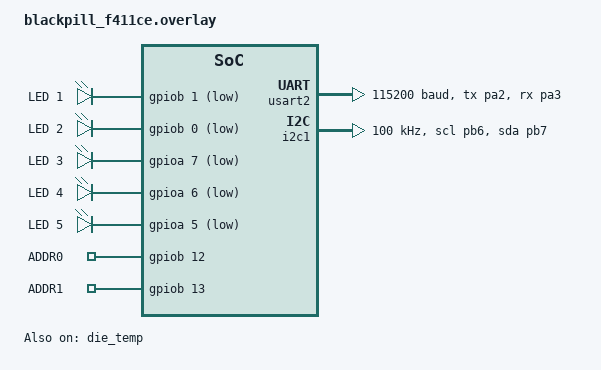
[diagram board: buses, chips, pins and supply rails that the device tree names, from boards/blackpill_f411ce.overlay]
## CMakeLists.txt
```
cmake_minimum_required(VERSION 3.20.0)

find_package(Zephyr REQUIRED HINTS $ENV{ZEPHYR_BASE})
project(libcsp-zephyr)

target_sources(app PRIVATE src/main.c src/csp_server_client_zephyr.c src/usart_zephyr.c src/i2c_zephyr.c)
target_link_libraries(app PRIVATE libcsp)
```

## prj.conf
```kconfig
CONFIG_GPIO=y

CONFIG_LIBCSP=y
CONFIG_LIBCSP_HAVE_STDIO=y

CONFIG_PICOLIBC=y # missing <endian.h> for libcsp

CONFIG_DMA=y
CONFIG_DMA_STM32=y
CONFIG_UART_STM32=y
CONFIG_UART_ASYNC_API=y

CONFIG_ADC=y
CONFIG_SENSOR=y
CONFIG_CBPRINTF_FP_SUPPORT=y

CONFIG_I2C=y
CONFIG_I2C_STM32=y
CONFIG_I2C_STM32_INTERRUPT=y
CONFIG_I2C_TARGET=y
# CONFIG_I2C_LOG_LEVEL_DBG=y

CONFIG_LOG=y
CONFIG_LOG_MODE_DEFERRED=y
CONFIG_LOG_PRINTK=y

# CONFIG_DEBUG=y
```

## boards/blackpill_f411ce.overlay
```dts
/ {
    aliases {
        cspkissuart = &usart2;
        uartdma = &dma1;
        cputemp = &die_temp;
        cspi2c = &i2c1;

        addr0 = &addr_0;
        addr1 = &addr_1;

        led1 = &led_1;
        led2 = &led_2;
        led3 = &led_3;
        led4 = &led_4;
        led5 = &led_5;
    };

    leds {
        led_1: led_1 {
            gpios = <&gpiob 1 GPIO_ACTIVE_LOW>;
            label = "LED 1";
        };
        led_2: led_2 {
            gpios = <&gpiob 0 GPIO_ACTIVE_LOW>;
            label = "LED 2";
        };
        led_3: led_3 {
            gpios = <&gpioa 7 GPIO_ACTIVE_LOW>;
            label = "LED 3";
        };
        led_4: led_4 {
            gpios = <&gpioa 6 GPIO_ACTIVE_LOW>;
            label = "LED 4";
        };
        led_5: led_5 {
            gpios = <&gpioa 5 GPIO_ACTIVE_LOW>;
            label = "LED 5";
        };
        
    };

	gpio_keys {
		addr_0: addr_0 {
			label = "ADDR0";
			gpios = <&gpiob 12 (GPIO_ACTIVE_HIGH)>;
		};
        addr_1: addr_1 {
			label = "ADDR1";
			gpios = <&gpiob 13 (GPIO_ACTIVE_HIGH)>;
        };

	};
};

&usart2 {
    status = "okay";
    pinctrl-0 = <&usart2_tx_pa2 &usart2_rx_pa3>;
    pinctrl-names = "default";
	current-speed = <115200>;
    dmas = <&dma1 6 4 STM32_DMA_PERIPH_TX STM32_DMA_FIFO_FULL>, <&dma1 7 6 STM32_DMA_PERIPH_RX STM32_DMA_FIFO_FULL>;
    dma-names = "tx", "rx";
};

&dma1 {
    status = "okay";
};

&die_temp {
    status = "okay";
};


&i2c1 {
    status = "okay";
    pinctrl-0 = <&i2c1_scl_pb6 &i2c1_sda_pb7>;
    pinctrl-names = "default";
    clock-frequency = <I2C_BITRATE_STANDARD>;
};

// Disable to prevent collision with I2C1 pinout
&pwm4 {
    status = "disabled";
};
```

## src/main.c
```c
#include <csp/csp.h>
#include <csp/csp_debug.h>
#include <csp/drivers/usart.h>
#include "i2c.h"

#include <zephyr/kernel.h>
#include <zephyr/drivers/gpio.h>
#include <zephyr/drivers/i2c.h>

#include <stdlib.h>
#include <string.h>
#include <time.h>

#define OBC_ADDR ( 1 )
#define EPS_ADDR ( 2 )
#define COM_ADDR ( 3 )

#define SLEEP_TIME_MS ( 1000 )

/* The devicetree node identifier for the "led0" alias. */
#define LED0_NODE DT_ALIAS(led0)
#define LED1_NODE DT_ALIAS(led1)
#define LED2_NODE DT_ALIAS(led2)
#define LED3_NODE DT_ALIAS(led3)
#define LED4_NODE DT_ALIAS(led4)
#define LED5_NODE DT_ALIAS(led5)
// #define CSP_I2C_NODE DT_ALIAS(cspi2c)

#define ADDR0_NODE	DT_ALIAS(addr0)
#define ADDR1_NODE	DT_ALIAS(addr1)

static const struct gpio_dt_spec addr0 = GPIO_DT_SPEC_GET_OR(ADDR0_NODE, gpios, {0});
static const struct gpio_dt_spec addr1 = GPIO_DT_SPEC_GET_OR(ADDR1_NODE, gpios, {0});
                                  
static const struct gpio_dt_spec led = GPIO_DT_SPEC_GET(LED0_NODE, gpios);

static const struct gpio_dt_spec leds[5] = {
    GPIO_DT_SPEC_GET(LED1_NODE, gpios),
    GPIO_DT_SPEC_GET(LED2_NODE, gpios),
    GPIO_DT_SPEC_GET(LED3_NODE, gpios),
    GPIO_DT_SPEC_GET(LED4_NODE, gpios),
    GPIO_DT_SPEC_GET(LED5_NODE, gpios),
};

/* These three functions must be provided in arch specific way */
void router_start(void);
void server_start(void);
void client_start(void);

void who_am_i(uint8_t addr)
{
    switch(addr)
    {
    case OBC_ADDR:
        printk("HW: OBC\n");
        break;
    case EPS_ADDR:
        printk("HW: EPS\n");
        break;
    case COM_ADDR:
        printk("HW: COM\n");
        break;
    default:
        printk("HW: error!\n");
        break;
    }
}

void main(void)
{
    int ret;

    /*** User LED ***/
    if (!gpio_is_ready_dt(&led))
    {
        return;
    }

    ret = gpio_pin_configure_dt(&led, GPIO_OUTPUT_ACTIVE);
    if (ret < 0)
    {
        return;
    }

    for(int i = 0; i < 5; i++)
    {
        if(!gpio_is_ready_dt(&leds[i]))
        {
            return;
        }
        ret = gpio_pin_configure_dt(&leds[i], GPIO_OUTPUT_ACTIVE);
        if (ret < 0)
        {
            return;
        }
    }

    /*** HW address input ***/
    if (!gpio_is_ready_dt(&addr0))
    {
        printk("Error: HW address device %s is not ready\n", addr0.port->name);
        return;
    }
    if (!gpio_is_ready_dt(&addr1))
    {
        printk("Error: HW address device %s is not ready\n", addr1.port->name);
        return;
    }

    ret = gpio_pin_configure_dt(&addr0, GPIO_INPUT);
    if (ret != 0) {
        printk("Error %d: failed to configure %s pin %d\n", ret, addr0.port->name, addr0.pin);
        return;
    }
    ret = gpio_pin_configure_dt(&addr1, GPIO_INPUT);
    if (ret != 0) {
        printk("Error %d: failed to configure %s pin %d\n", ret, addr1.port->name, addr1.pin);
        return;
    }

    uint8_t my_addr = 0;
    if(gpio_pin_get_dt(&addr0)) { my_addr += 1; }
    if(gpio_pin_get_dt(&addr1)) { my_addr += 2; }

    who_am_i(my_addr);

    /*** Cubesat Space Protocol ***/
    printk("Initializing CSP\n");

    /* Init CSP */
    csp_init();
    csp_dbg_packet_print = 1;

    /* Start router */
    router_start();

    /* Add interface(s) */
    csp_iface_t * kiss_iface = NULL;
    csp_iface_t * i2c_iface = NULL;

    // Configure USART in devicetree and here pass NULL
    if(my_addr == COM_ADDR)
    {
        ret = csp_usart_open_and_add_kiss_interface(NULL, CSP_IF_KISS_DEFAULT_NAME, &kiss_iface);
        if (ret != CSP_ERR_NONE)
        {
            csp_print("Failed to add KISS interface [%s], error: %d\n", DEVICE_DT_NAME(DT_ALIAS(cspkissuart)), ret);
            return;
        }
        else
        {
            csp_print("KISS interface OK\n");
            kiss_iface->addr = my_addr;
        }

        csp_rtable_set(32, 9, kiss_iface, CSP_NO_VIA_ADDRESS);
    }

    // Configure I2C
    csp_i2c_conf_t conf = { .address = my_addr };
    ret = csp_i2c_open_and_add_interface(&conf, CSP_IF_I2C_DEFAULT_NAME, &i2c_iface);
    if (ret != CSP_ERR_NONE)
    {
        csp_print("Failed to add I2C interface [%s], error: %d\n", DEVICE_DT_NAME(DT_ALIAS(cspi2c)), ret);
        return;
    }
    else
    {
        csp_print("I2C interface OK\n");
    }

    csp_rtable_set(0, 9, i2c_iface, CSP_NO_VIA_ADDRESS);
    if(my_addr != COM_ADDR)
    {
        csp_rtable_set(32, 9, i2c_iface, COM_ADDR);
    }

    csp_print("Connection table\r\n");
    csp_conn_print_table();

    csp_print("Interfaces\r\n");
    csp_iflist_print();

    csp_print("Route table\r\n");
    csp_rtable_print();

    server_start();

    srand(time(NULL));

    while (1)
    {
        ret = gpio_pin_toggle_dt(&led);
        if (ret < 0)
        {
            return;
        }

        ret = gpio_pin_toggle_dt(&leds[rand()%5]);
        k_msleep(SLEEP_TIME_MS);
    }
}
```

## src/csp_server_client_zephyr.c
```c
#include <csp/csp.h>
#include <zephyr/kernel.h>
#include <zephyr/drivers/sensor.h>

void server(void);
void client(void);

#define ROUTER_STACK_SIZE 800
#define SERVER_STACK_SIZE 800
#define CLIENT_STACK_SIZE 400
#define ROUTER_PRIO 0
#define SERVER_PRIO 0
#define CLIENT_PRIO 0

/* Server port, the port the server listens on for incoming connections from the client. */
#define MY_SERVER_PORT		10
#define CPU_TEMPERATURE_PORT		11

#define CPU_TEMP_NODE DT_ALIAS(cputemp)

static const struct device *const cpu_temp = DEVICE_DT_GET(CPU_TEMP_NODE);

static unsigned int server_received = 0;

void server(void)
{
    int ret;
    struct sensor_value val;

    csp_print("Server task started\n");

    /*** CPU temperature sensor ***/
    if (!device_is_ready(cpu_temp))
    {
        printk("sensor: device %s not ready.\n", cpu_temp->name);
        return;
    }

    /*** ***/
    /* Create socket with no specific socket options, e.g. accepts CRC32, HMAC, etc. if enabled during compilation */
    csp_socket_t sock = {0};

    /* Bind socket to all ports, e.g. all incoming connections will be handled here */
    csp_bind(&sock, CSP_ANY);

    /* Create a backlog of 10 connections, i.e. up to 10 new connections can be queued */
    csp_listen(&sock, 10);

    /* Wait for connections and then process packets on the connection */
    while (1) {

        /* Wait for a new connection, 10000 mS timeout */
        csp_conn_t *conn;
        if ((conn = csp_accept(&sock, 10000)) == NULL) {
            /* timeout */
            continue;
        }

        /* Read packets on connection, timout is 100 mS */
        csp_packet_t *packet;
        while ((packet = csp_read(conn, 50)) != NULL) {
            switch (csp_conn_dport(conn)) {
            case MY_SERVER_PORT:
                /* Process packet here */
                csp_print("Packet received on MY_SERVER_PORT: %s\n", (char *) packet->data);
                csp_buffer_free(packet);
                ++server_received;
                break;

            case CPU_TEMPERATURE_PORT:
                ret = sensor_sample_fetch(cpu_temp);
                if (ret)
                {
                    printk("Failed to fetch sample (%d)\n", ret);
                }

                ret = sensor_channel_get(cpu_temp, SENSOR_CHAN_DIE_TEMP, &val);
                if (ret)
                {
                    printk("Failed to get data (%d)\n", ret);
                }
                
                printk("CPU Die temperature[%s] request: %.1f °C (%d %d)\n", cpu_temp->name, sensor_value_to_double(&val), val.val1, val.val2);

                memcpy(packet->data, &val.val1, sizeof(val.val1));
                memcpy(packet->data+sizeof(val.val1), &val.val2, sizeof(val.val2));
                packet->length = sizeof(val.val1)+sizeof(val.val2);

                csp_sendto_reply(packet, packet, CSP_O_SAME);
                break;

            default:
                /* Call the default CSP service handler, handle pings, buffer use, etc. */
                csp_service_handler(packet);
                break;
            }
        }

        /* Close current connection */
        csp_close(conn);

    }

    return;

}

static void * router_task(void * param) {

    /* Here there be routing */
    while (1) {
        csp_route_work();
        k_msleep(1);
    }

    return NULL;
}

static void * server_task(void * p1, void * p2, void * p3) {

    ARG_UNUSED(p1);
    ARG_UNUSED(p2);
    ARG_UNUSED(p3);

    server();

    return NULL;
}

static void * client_task(void * p1, void * p2, void * p3) {

    ARG_UNUSED(p1);
    ARG_UNUSED(p2);
    ARG_UNUSED(p3);

    // client();

    return NULL;
}

K_THREAD_DEFINE(router_id, ROUTER_STACK_SIZE,
                router_task, NULL, NULL, NULL,
                ROUTER_PRIO, 0, K_TICKS_FOREVER);
K_THREAD_DEFINE(server_id, SERVER_STACK_SIZE,
                server_task, NULL, NULL, NULL,
                SERVER_PRIO, 0, K_TICKS_FOREVER);
K_THREAD_DEFINE(client_id, CLIENT_STACK_SIZE,
                client_task, NULL, NULL, NULL,
                CLIENT_PRIO, 0, K_TICKS_FOREVER);

void router_start(void) {
    k_thread_start(router_id);
}

void server_start(void) {
    k_thread_start(server_id);
}

void client_start(void) {
    k_thread_start(client_id);
}
```

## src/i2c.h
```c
#pragma once

/**
   @file

   I2C driver.
*/

#include <csp/interfaces/csp_if_i2c.h>


/**
   I2C configuration
   @see csp_i2c_open()
*/
typedef struct csp_i2c_conf {
    //! Bus bitrate
    uint32_t bitrate;
    //! Slave address
    uint8_t address;
} csp_i2c_conf_t;

// /** 
//    Callback for returning data to application
// 
//    @param[in] buf data received
//    @param[in] len data length (number of bytes in \a buf).
//    @param[out] pxTaskWoken Valid reference if called from ISR, otherwise NULL!
// */
// typedef void (*csp_i2c_callback_t) (void * user_data, uint8_t *buf, size_t len, void *pxTaskWoken);

/**
 * Write data on open I2C.
 * @return number of bytes written on success, a negative value on failure. 
 */
int csp_i2c_write(void * driver_data, csp_packet_t * packet);

/**
 * Lock the device, so only a single user can use I2C device at a time
 * 
 * NOTE: Currently not used by csp_if_i2c
 */
// int csp_i2c_lock(void * driver_data);

/**
 * Unlock the I2C device again
 * 
 * NOTE: Currently not used by csp_if_i2c
 */
// int csp_i2c_unlock(void * driver_data);

/**
   Open an I2C device and add interface

   @param[in] conf I2C configuration.
   @param[in] ifname interface name (will be copied), or use NULL for default name.
   @param[out] return_iface the added interface.
   @return #CSP_ERR_NONE on success, otherwise an error code.
*/
int csp_i2c_open_and_add_interface(const csp_i2c_conf_t *conf, const char * ifname, csp_iface_t ** return_iface);
```

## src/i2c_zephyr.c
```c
#include "i2c.h"

#include <csp/csp.h>
#include <csp/csp_id.h>

#include <zephyr/kernel.h>
#include <zephyr/drivers/i2c.h>

#include <stdlib.h>

typedef struct
{
    char name[CSP_IFLIST_NAME_MAX + 1];
    csp_iface_t iface;
    csp_i2c_interface_data_t ifdata;

    csp_packet_t* packet;
    uint16_t rx_length;
} i2c_context_t;

int csp_i2c_target_write_requested_cb(struct i2c_target_config *config);
int csp_i2c_target_read_requested_cb(struct i2c_target_config *config, uint8_t *val);
int csp_i2c_target_write_received_cb(struct i2c_target_config *config, uint8_t val);
int csp_i2c_target_read_processed_cb(struct i2c_target_config *config, uint8_t *val);
int csp_i2c_target_stop_cb(struct i2c_target_config *config);

static const struct device *const i2c_dev = DEVICE_DT_GET(DT_NODELABEL(i2c1));

static i2c_context_t* ctx = NULL;

static struct i2c_target_callbacks csp_target_cbs = 
{
    .read_processed = csp_i2c_target_read_processed_cb,
    .read_requested = csp_i2c_target_read_requested_cb,
    .stop = csp_i2c_target_stop_cb,
    .write_received = csp_i2c_target_write_received_cb,
    .write_requested = csp_i2c_target_write_requested_cb
};

static struct i2c_target_config csp_i2c_target_config =
{
    .address = 0,
    .flags = 0,
    .callbacks = &csp_target_cbs
};

int csp_i2c_target_write_requested_cb(struct i2c_target_config *config)
{
    // TODO: Get I2C ctx by i2c_target_config
    ctx->packet = csp_buffer_get_isr(CSP_BUFFER_SIZE);
    if (ctx->packet == NULL)
    {
        // Buffer not prepared, abort receiving
        csp_print("%s[%s]:Write RX packet NULL!\n", __FUNCTION__, ctx->name);
        
        // No more memory, return negative error code to reject incoming write request
        return -1;
    }

    csp_id_setup_rx(ctx->packet);
    ctx->rx_length = 0;

    return 0;
}

int csp_i2c_target_read_requested_cb(struct i2c_target_config *config, uint8_t *val)
{
    // Only write is support, return negative error code to reject incoming write request
    return -ENOTSUP;
}

int csp_i2c_target_write_received_cb(struct i2c_target_config *config, uint8_t val)
{
    if (ctx->packet == NULL)
    {
        // Buffer not prepared, abort receiving
        csp_print("Write RX packet NULL!\n");
        return -CSP_ERR_NOBUFS;
    }
    ctx->packet->frame_begin[ctx->rx_length++] = val;

    return 0;
}

int csp_i2c_target_read_processed_cb(struct i2c_target_config *config, uint8_t *val)
{
    // Only write is support, return negative error code to reject incoming write request
    return -ENOTSUP;
}

int csp_i2c_target_stop_cb(struct i2c_target_config *config)
{
    uint8_t task_woken = 0;

    ctx->packet->frame_length = ctx->rx_length;
    csp_i2c_rx(&ctx->iface, ctx->packet, &task_woken);

    return 0;
}

int csp_i2c_open(void)
{
    int ret = i2c_target_register(i2c_dev, &csp_i2c_target_config);
    if(ret != 0)
    {
        csp_print("i2c_target_register() failed, error: %d\n", ret);
        return CSP_ERR_DRIVER;
    }

    return CSP_ERR_NONE;
}

int csp_i2c_write(void * driver_data, csp_packet_t * packet)
{
    int ret = i2c_target_unregister(i2c_dev, &csp_i2c_target_config);
    if(ret != 0)
    {
        csp_print("%s: i2c_target_unregister() failed, error: %d\n", __FUNCTION__, ret);
    }

    struct i2c_msg msg;

    /* Setup I2C messages */
    if (!device_is_ready(i2c_dev))
    {
        csp_print("i2c not ready\n");
        return CSP_ERR_TX;
    }

    /* Data to be written, and STOP after this. */
    msg.buf = packet->frame_begin;
    msg.len = packet->frame_length;
    msg.flags = I2C_MSG_WRITE | I2C_MSG_STOP;

    ret = i2c_transfer(i2c_dev, &msg, 1, packet->cfpid);

    if(ret != 0)
    {
        return CSP_ERR_TX;
    }

    ret = i2c_target_register(i2c_dev, &csp_i2c_target_config);
    if(ret != 0)
    {
        csp_print("%s: i2c_target_register() failed, error: %d\n", __FUNCTION__, ret);
    }
    return packet->frame_length;
}

int csp_i2c_open_and_add_interface(const csp_i2c_conf_t *conf, const char * ifname, csp_iface_t ** return_iface)
{
    if (ifname == NULL) {
        ifname = CSP_IF_I2C_DEFAULT_NAME;
    }

    // TODO: How to store other than global?
    // i2c_context_t* ctx = calloc(1, sizeof(*ctx));
    ctx = calloc(1, sizeof(*ctx));
    if (ctx == NULL)
    {
        csp_print("%s: Error allocating context, device: [%s], errno: %s\n", __FUNCTION__, i2c_dev->name, strerror(errno));
        return CSP_ERR_NOMEM;
    }

    strncpy(ctx->name, ifname, sizeof(ctx->name) - 1);
    ctx->iface.name = ctx->name;
    ctx->iface.addr = conf->address;
    ctx->iface.driver_data = ctx;
    ctx->iface.interface_data = &ctx->ifdata;
    ctx->ifdata.tx_func = csp_i2c_write;

    if (!device_is_ready(i2c_dev))
    {
        csp_print("%s[%s]: I2C not ready!\n", __FUNCTION__, ctx->name);
        return CSP_ERR_DRIVER;
    }

    csp_i2c_target_config.address = conf->address;
    int ret = i2c_target_register(i2c_dev, &csp_i2c_target_config);
    if(ret != 0)
    {
        csp_print("%s[%s]: i2c_target_register() failed, error: %d\n", __FUNCTION__, ctx->name, ret);
        free(ctx);
        return CSP_ERR_DRIVER;
    }

    /* Add interface to CSP */
    int res = csp_i2c_add_interface(&ctx->iface);
    if (res != CSP_ERR_NONE) {
        csp_print("%s[%s]: csp_i2c_add_interface() failed, error: %d\n", __FUNCTION__, ctx->name, res);
        free(ctx);
        return res;
    }

    if (return_iface) {
        *return_iface = &ctx->iface;
    }

    return CSP_ERR_NONE;
}
```

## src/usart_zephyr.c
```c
#include <csp/csp.h>
#include <csp/csp_debug.h>
#include <csp/drivers/usart.h>

#include <zephyr/kernel.h>
#include <zephyr/drivers/uart.h>

#include <stdlib.h>

// TODO: Set buffer size using KISS interface MTU value
#define RX_BUFFER_SIZE ( 200 )
#define RX_TIMEOUT_US ( 50000 )

static const struct device *const csp_kiss_uart_dev = DEVICE_DT_GET(DT_ALIAS(cspkissuart));

static uint8_t rx_buffer[RX_BUFFER_SIZE];
static volatile bool tx_busy = false;

typedef struct {
    csp_usart_callback_t rx_callback;
    void * user_data;
    csp_usart_fd_t fd; // TODO: For Zephyr change underlying type to struct device pointer?
} usart_context_t;

K_MUTEX_DEFINE(lock);

void csp_usart_lock(void * driver_data)
{
    k_mutex_lock(&lock, K_NO_WAIT);
}

void csp_usart_unlock(void * driver_data)
{
    k_mutex_unlock(&lock);
}

int csp_usart_write(csp_usart_fd_t fd, const void * data, size_t data_length)
{
    while(tx_busy)
    {
        // Wait till TX is not busy
        // TODO: Use Zephyr utility to wait with timeout
    };
    tx_busy = true;
    
    // Timeout in microseconds valid only if flow control is enabled
    int ret = uart_tx(csp_kiss_uart_dev, data, data_length, SYS_FOREVER_US);
    if(ret != 0)
    {
        return ret;
    }

    return data_length;
}

void csp_kiss_uart_event_cb(const struct device* dev, struct uart_event* evt, void* user_data)
{
    usart_context_t * ctx = user_data;

    switch(evt->type)
    {
    case UART_TX_DONE:
        tx_busy = false;
        break;

    case UART_TX_ABORTED:
        break;

	case UART_RX_RDY:
        uart_rx_disable(csp_kiss_uart_dev);
        ctx->rx_callback(ctx->user_data, evt->data.rx.buf+evt->data.rx.offset, evt->data.rx.len, NULL);
        break;

    case UART_RX_BUF_REQUEST:
        break;

	case UART_RX_BUF_RELEASED:
        break;

	case UART_RX_DISABLED:
        uart_rx_enable(csp_kiss_uart_dev, rx_buffer, RX_BUFFER_SIZE, RX_TIMEOUT_US);
        break;

	case UART_RX_STOPPED:
        break;

    }
}

int csp_usart_open(const csp_usart_conf_t * conf, csp_usart_callback_t rx_callback, void * user_data, csp_usart_fd_t * return_fd)
{
    // USART parameters configured in devicetree, no use here
    ARG_UNUSED(conf);

    if (!device_is_ready(csp_kiss_uart_dev))
    {
        csp_print("UART KISS device not found!");
        return CSP_ERR_DRIVER;
    }

    // Allocate context memory
    usart_context_t * ctx = calloc(1, sizeof(*ctx));
    if (ctx == NULL)
    {
        csp_print("%s: Error allocating context, device: [%s], errno: %s\n", __FUNCTION__, csp_kiss_uart_dev->name, strerror(errno));
        return CSP_ERR_NOMEM;
    }
    ctx->rx_callback = rx_callback;
    ctx->user_data = user_data;
    // ctx->fd = fd; // TODO: Read struct member comment

    // Setup UART callback
    int ret = uart_callback_set(csp_kiss_uart_dev, csp_kiss_uart_event_cb, ctx);
    if(ret != 0)
    {
        csp_print("Error setting UART callback, device: [%s], return: %d\n", csp_kiss_uart_dev->name, ret);

        return CSP_ERR_DRIVER;
    }

    // Enable RX if callback provided
    if (rx_callback)
    {
        ret = uart_rx_enable(csp_kiss_uart_dev, rx_buffer, RX_BUFFER_SIZE, RX_TIMEOUT_US);
        if(ret != 0)
        {
            csp_print("Error enabling UART RX, device: [%s], return: %d (%s)\n", csp_kiss_uart_dev->name, ret, strerror(-ret));

            return CSP_ERR_DRIVER;
        }
    }

    if (return_fd)
    {
        // *return_fd = fd; // TODO: Read struct member comment
    }

    return CSP_ERR_NONE;
}
```
